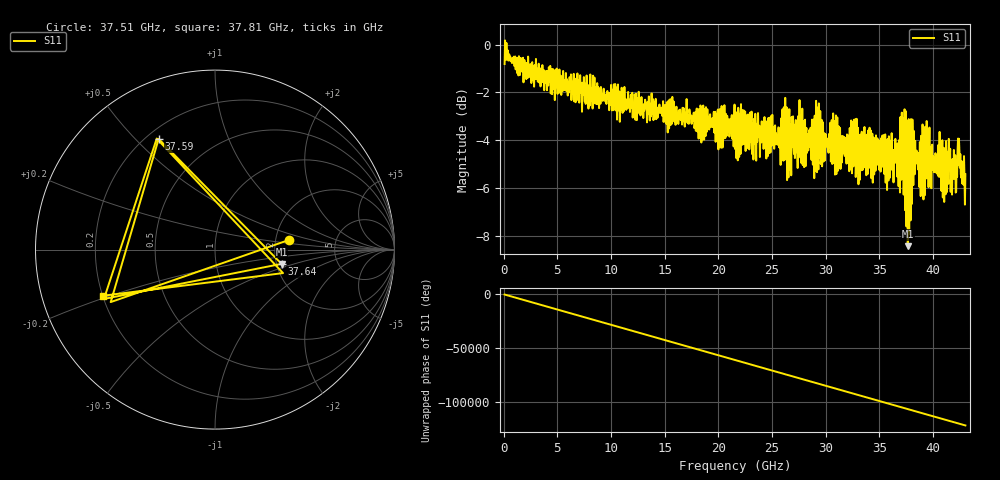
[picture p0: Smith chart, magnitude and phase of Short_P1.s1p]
# Hz S RI R 50.000000
! Metas.Vna.Tools, 2.9.9438.25149
! Metas.Vna.Data, 2.9.9438.25100
! Created: UTC 2026.07.01 05:49:07
! FREQ  re:S1,1  im:S1,1
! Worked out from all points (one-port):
!   1001 points, 100 MHz to 43 GHz, reference 50 ohm
!   lowest |S11| = -8.4 dB at 37.64 GHz (marker M1), VSWR 2.22, Z = 106 - j19.8 ohm
!   |S11| at or under -10 dB: nowhere
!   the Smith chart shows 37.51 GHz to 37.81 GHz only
!   S11 on the Smith chart (normalised r, x): 37.51 GHz: 2.38, +0.31; 37.59 GHz: 0.25, +0.59; 37.64 GHz: 2.13, -0.40; 37.81 GHz: 0.20, -0.19
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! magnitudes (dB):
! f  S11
! 100 MHz  -0.8
! 357.4 MHz  -0.6
! 5.463 GHz  -1.4
! 10.82 GHz  -3.2
! 16.19 GHz  -2.9
! 21.55 GHz  -4.4
! 26.91 GHz  -4.3
! 32.27 GHz  -4.3
! 36.14 GHz  -3.7
! 37.25 GHz  -6.3
! 37.47 GHz  -2.8
! 37.51 GHz  -7.6
! 37.59 GHz  -3.2
! 37.64 GHz  -8.4
! 37.68 GHz  -3.4
! 37.77 GHz  -7.9
! 37.81 GHz  -3.4
! 37.89 GHz  -7.3
! 37.98 GHz  -3.8
! 38.02 GHz  -6.7
! 38.11 GHz  -4.2
! 38.15 GHz  -5.9
! 38.5 GHz  -4.8
! 39.83 GHz  -6.0
! 41.97 GHz  -5.5
! 42.44 GHz  -4.4
! 42.79 GHz  -5.0
! 43 GHz  -5.4
